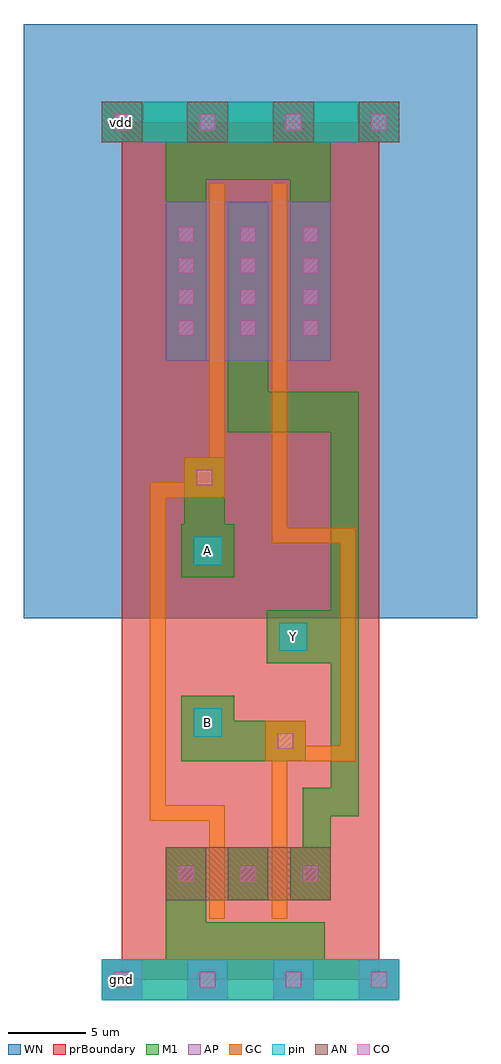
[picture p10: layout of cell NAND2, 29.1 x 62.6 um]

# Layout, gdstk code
import gdstk
lib = gdstk.Library(unit=1e-6, precision=1e-09)
def R(c, l, rs):  # rectangles x0, y0, x1, y1
    for r in rs: c.add(gdstk.rectangle(r[:2], r[2:], *l))
def A(c, l, x, y, w, h, nx, ny, dx, dy):  # array of equal rectangles
    R(c, l, [(x+i*dx, y+j*dy, x+i*dx+w, y+j*dy+h) for i in range(nx) for j in range(ny)])
def P(c, l, *ps):  # polygons
    for p in ps: c.add(gdstk.Polygon(p, *l))
AP = (3, 1)
AN = (3, 2)
GC = (8, 1)
CO = (11, 0)
M1 = (13, 0)
pin = (48, 1)
WN = (140, 0)
prBoundary = (235, 0)

nand2 = lib.new_cell('NAND2')
A(nand2, AP, -1.3, -1.3, 2.6, 2.6, 4, 1, 5.5, 0)
R(nand2, AP, [(2.8,39.7,13.4,49.9), (2.8,39.7,13.4,49.9)])
A(nand2, AN, -1.3, 53.7, 2.6, 2.6, 4, 1, 5.5, 0)
R(nand2, AN, [(2.8,5.1,13.4,8.5)])
P(nand2, GC, [(5.6,3.9),(5.6,10.2),(1.8,10.2),(1.8,31.9),(4,31.9),(4,33.5),(5.6,33.5),(5.6,51.1),(6.6,51.1),(6.6,30.9),(2.8,30.9),(2.8,11.2),(6.6,11.2),(6.6,3.9)],
  [(9.6,3.9),(9.6,14),(9.2,14),(9.2,16.6),(11.8,16.6),(11.8,15),(14,15),(14,28),(9.6,28),(9.6,51.1),(10.6,51.1),(10.6,29),(15,29),(15,14),(10.6,14),(10.6,3.9)])
A(nand2, CO, -0.5, -0.5, 1, 1, 4, 2, 5.5, 55)
A(nand2, CO, 11.6, 41.3, 1, 1, 1, 4, 0, 2)
R(nand2, CO, [(3.6,6.3,4.6,7.3), (7.6,6.3,8.6,7.3), (7.6,6.3,8.6,7.3), (11.6,6.3,12.6,7.3), (10,14.8,11,15.8), (4.8,31.7,5.8,32.7), (3.6,41.3,4.6,42.3), (3.6,41.3,4.6,42.3), (3.6,41.3,4.6,42.3), (7.6,41.3,8.6,42.3), (7.6,41.3,8.6,42.3), (7.6,41.3,8.6,42.3), (7.6,41.3,8.6,42.3), (3.6,43.3,4.6,44.3), (3.6,43.3,4.6,44.3), (3.6,43.3,4.6,44.3), (7.6,43.3,8.6,44.3), (7.6,43.3,8.6,44.3), (7.6,43.3,8.6,44.3), (7.6,43.3,8.6,44.3), (3.6,45.3,4.6,46.3), (3.6,45.3,4.6,46.3), (3.6,45.3,4.6,46.3), (7.6,45.3,8.6,46.3), (7.6,45.3,8.6,46.3), (7.6,45.3,8.6,46.3), (7.6,45.3,8.6,46.3), (3.6,47.3,4.6,48.3), (3.6,47.3,4.6,48.3), (3.6,47.3,4.6,48.3), (7.6,47.3,8.6,48.3), (7.6,47.3,8.6,48.3), (7.6,47.3,8.6,48.3), (7.6,47.3,8.6,48.3)])
R(nand2, M1, [(6.8,5.1,9.4,8.5)])
P(nand2, M1, [(-1.3,-1.3),(-1.3,1.3),(2.8,1.3),(2.8,8.5),(5.4,8.5),(5.4,3.7),(13,3.7),(13,1.3),(17.8,1.3),(17.8,-1.3)],
  [(3.8,14),(3.8,18.2),(7.2,18.2),(7.2,16.6),(11.8,16.6),(11.8,14)],
  [(3.8,25.8),(3.8,29.2),(4,29.2),(4,33.5),(6.6,33.5),(6.6,29.2),(7.2,29.2),(7.2,25.8)],
  [(10.8,5.1),(10.8,8.5),(11.6,8.5),(11.6,12.3),(13.4,12.3),(13.4,20.3),(9.3,20.3),(9.3,23.7),(13.4,23.7),(13.4,35.1),(6.8,35.1),(6.8,49.9),(9.4,49.9),(9.4,37.7),(15.2,37.7),(15.2,10.5),(13.4,10.5),(13.4,5.1)],
  [(2.8,39.7),(2.8,53.7),(-1.3,53.7),(-1.3,56.3),(17.8,56.3),(17.8,53.7),(13.4,53.7),(13.4,39.7),(10.8,39.7),(10.8,51.3),(5.4,51.3),(5.4,39.7)])
R(nand2, pin, [(-1.3,-1.3,17.8,1.3), (4.6,15.6,6.4,17.4), (10.1,21.1,11.9,22.9), (4.6,26.6,6.4,28.4), (-1.3,53.7,17.8,56.3)])
R(nand2, WN, [(-6.3,23.2,22.8,61.3)])
R(nand2, prBoundary, [(0,0,16.5,55)])
nand2.add(gdstk.Label('gnd', (0,0), layer=48, texttype=0))
nand2.add(gdstk.Label('Y', (11,22), layer=48, texttype=0))
nand2.add(gdstk.Label('B', (5.5,16.5), layer=48, texttype=0))
nand2.add(gdstk.Label('A', (5.5,27.5), layer=48, texttype=0))
nand2.add(gdstk.Label('vdd', (0,55), layer=48, texttype=0))

lib.write_gds('NAND2.gds')
